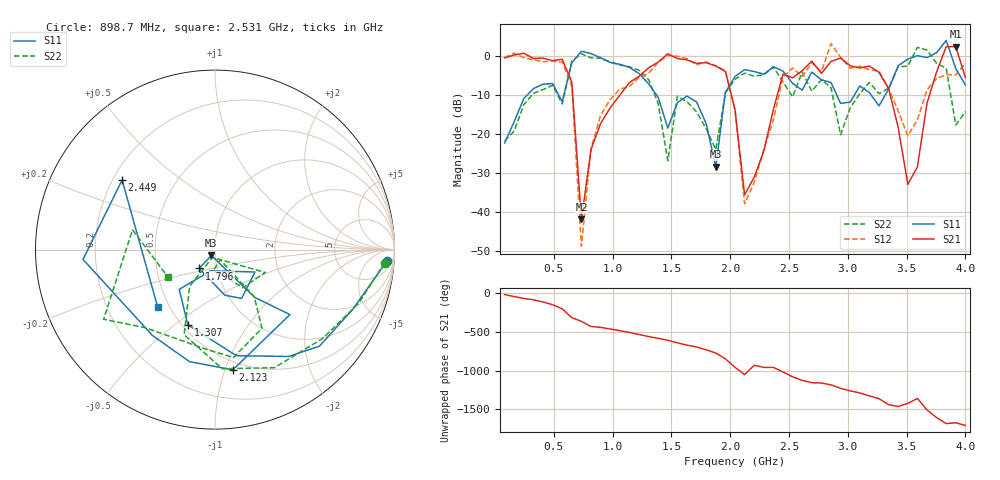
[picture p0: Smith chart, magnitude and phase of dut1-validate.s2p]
!Created with skrf (http://scikit-rf.org).
# GHz S DB R 50.0
!freq dBS11 angS11 dBS21 angS21 dBS12 angS12 dBS22 angS22
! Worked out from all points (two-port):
!   49 points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, 82.61 MHz to 4 GHz, reference 50 ohm
!   highest |S21| = 2.51 dB at 3.918 GHz (marker M1); lowest = -41.8 dB at 735.5 MHz (marker M2)
!   |S21| within 3 dB of the highest: start of sweep to 326.5 MHz; 3.799 GHz to 3.949 GHz (150.3 MHz wide, 3.88 % of centre) (the widest 2 of 5)
!   lowest |S11| = -28.3 dB at 1.878 GHz (marker M3), VSWR 1.08, Z = 47.9 - j3.13 ohm
!   |S11| at or under -10 dB: start of sweep to 271.7 MHz; 1.376 GHz to 1.956 GHz (579.9 MHz wide, 34.8 % of centre); 2.908 GHz to 3.054 GHz (146.5 MHz wide, 4.91 % of centre) (the widest 3 of 5)
!   |S22| runs from -26.8 to 2.3 dB; largest |S21 - S12| = 1.2
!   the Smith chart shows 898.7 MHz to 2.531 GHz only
!   S11 on the Smith chart (normalised r, x): 898.7 MHz: 14, -23; 1.307 GHz: 0.53, -0.56; 1.796 GHz: 0.82, -0.18; 2.123 GHz: 0.43, -1.06; 2.449 GHz: 0.24, +0.32; 2.531 GHz: 0.43, -0.35
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0.08261224  -22.24 -106.8  -0.37 -23.8  -0.24 -25.2  -21.73 -112.8
0.4090612  -7.11 145.7  -0.42 -119.0  -1.35 -118.3  -8.51 145.1
0.5722857  -11.61 70.0  -0.72 152.4  -1.46 154.7  -12.21 59.7
0.7355102  1.32 53.7  -41.84 -8.4  -48.69 -158.2  0.68 65.4
0.8987347  -0.34 -3.6  -17.22 -85.2  -15.08 -91.4  -0.46 -4.5
1.306796  -7.02 -109.8  -2.93 156.5  -4.30 158.0  -5.94 -109.9
1.388408  -10.51 -131.9  -1.46 133.4  -1.52 133.3  -12.10 -124.6
1.796469  -17.26 -130.2  -1.58 -14.2  -1.42 -13.6  -18.56 -94.7
1.878082  -28.32 -121.9  -2.46 -55.9  -2.41 -59.8  -23.89 -63.3
2.041306  -5.15 -40.9  -13.69 120.9  -13.69 115.2  -5.84 -59.1
2.122918  -3.38 -81.6  -35.53 27.8  -37.80 -176.1  -4.29 -80.2
2.449367  -3.78 143.1  -4.51 61.1  -5.27 60.5  -6.51 166.5
2.53098  -6.91 -135.2  -5.49 -1.1  -2.97 -1.1  -10.36 -150.1
2.775816  -5.99 172.1  -4.36 -80.7  -3.91 -88.2  -5.95 175.9
2.857429  -6.68 161.5  -1.29 -104.1  3.27 -108.3  -8.01 129.1
3.183878  -9.27 175.3  -2.45 113.1  -3.43 122.4  -6.67 171.6
3.428714  -2.39 169.1  -18.22 -21.7  -13.99 -28.5  -2.67 -170.9
3.510327  -0.68 171.0  -32.82 17.8  -20.36 98.0  -2.46 -178.9
3.755163  0.96 85.7  -3.97 -164.5  -5.68 176.9  -1.75 102.0
3.836776  4.10 36.0  2.50 118.0  -4.68 -176.4  -3.04 75.8
3.918388  -3.13 120.1  2.51 128.5  -4.71 110.8  -17.57 45.8
4  -7.33 112.4  -5.41 93.9  -1.75 69.7  -14.19 49.4
